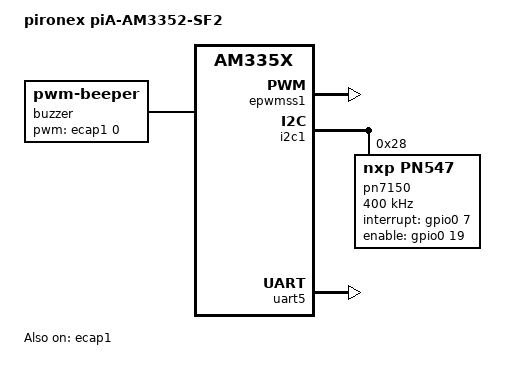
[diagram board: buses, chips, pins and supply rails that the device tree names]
/*
 * Copyright (C) 2019 pironex GmbH (http://www.pironex.de)
 *
 * This program is free software; you can redistribute it and/or modify
 * it under the terms of the GNU General Public License version 2 as
 * published by the Free Software Foundation.
 */
/dts-v1/;

#include "am335x-pia-sf.dtsi"

/ {
	model = "pironex piA-AM3352-SF2";

	buzzer: buzzer {
		compatible = "pwm-beeper";
		pwms = <&ecap1 0 250000 1>;
	};
};

&am33xx_pinmux {
	pinctrl-names = "default";
	pinctrl-0 = <&board_pins &board_pins_extra>;

	board_pins_extra: pinmux_board_pins {
		pinctrl-single,pins = <
			0x118 (PIN_INPUT_PULLUP   | MUX_MODE7)	/* BT-MODE: mii1_rxdv.gpio3_4 */
			0x134 (PIN_INPUT_PULLUP   | MUX_MODE7)	/* WDSET mii1_rxd3.gpio2_18 */
			0x164 (PIN_INPUT_PULLUP   | MUX_MODE7)	/* RFID_IRQ     ecap0_in_pwm0_out.gpio0_7 */ 
			0x1A4 (PIN_INPUT_PULLDOWN | MUX_MODE7)	/* UART2.DTR: mcasp0_fsr.gpio3_19 */
			0x1B0 (PIN_INPUT | MUX_MODE7)		/* RFID_POW_EN  xdma_event_intr0.gpio0_19 */
		>;
	};

	buzzer_pins: pinmux_buzzer_pins {
		pinctrl-single,pins = <
			0x160 (PIN_OUTPUT | MUX_MODE2)	/* BUZZER  spi0_cs1.ecap1_in_pwm1_out */
		>;
			
	};
	
	uart5_pins: pinmux_uart5_pins {
		pinctrl-single,pins = <
			0x1B4 (PIN_INPUT_PULLUP | MUX_MODE7)	/* BT-RST_N: xdma_event_intr1.gpio0_20 */
			0x1E8 (PIN_INPUT | MUX_MODE7)		/* BT_STATUS: emu1.gpio3_8 */
			0x108 (PIN_INPUT_PULLUP | MUX_MODE3)	/* mii1_col.uart5_rxd */
			0x144 (PIN_OUTPUT_PULLDOWN | MUX_MODE3)	/* rmii1_refclk.uart5_txd */
		>;
	};
};

&epwmss1 {
	// PWM for buzzer
	status = "okay";
};
&ecap1 {
	status = "okay";
	pinctrl-names = "default";
	pinctrl-0 = <&buzzer_pins>;
};

&uart1_pins {
	/* RS485 pins, res gpio as led7 */
	pinctrl-single,pins = <
		0x17C (PIN_OUTPUT | MUX_MODE7)		/* UART1.RTSn: uart1_rtsn.gpio0_13 */
		0x180 (PIN_INPUT_PULLUP | MUX_MODE0)	/* UART1.RXD:  uart1_rxd.uart1_rxd */
		0x184 (PIN_OUTPUT | MUX_MODE0)		/* UART1.TXD:  uart1_txd.uart1_txd */
	>;
};

&i2c1 {
	status = "okay";
	
	pn7150: pn7150@28 {

		compatible = "nxp,pn547";

		reg = <0x28>;
		clock-frequency = <400000>;

		interrupt-gpios = <&gpio0 7 0>;
		enable-gpios = <&gpio0 19 0>;
	};
};

&led7 {
	label = "rs485_res";
	reg = <7>;
	linux,default-trigger = "none";
};

&spi0 {
	status = "disabled";
};

/* BT UART */
&uart5 {
	pinctrl-names = "default";
	pinctrl-0 = <&uart5_pins>;

	status = "okay";
};

